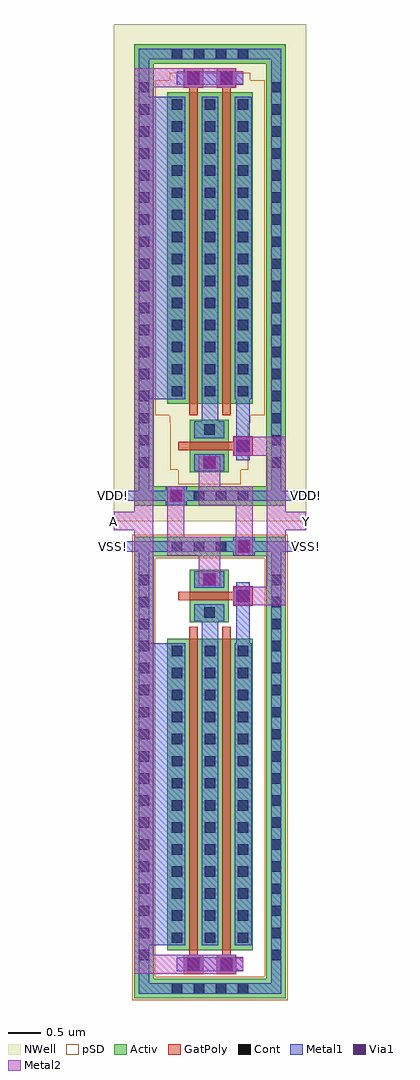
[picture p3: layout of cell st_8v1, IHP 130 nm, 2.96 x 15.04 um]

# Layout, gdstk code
import gdstk
lib = gdstk.Library(unit=1e-6, precision=1e-09)
def R(c, l, rs):  # rectangles x0, y0, x1, y1
    for r in rs: c.add(gdstk.rectangle(r[:2], r[2:], *l))
def A(c, l, x, y, w, h, nx, ny, dx, dy):  # array of equal rectangles
    R(c, l, [(x+i*dx, y+j*dy, x+i*dx+w, y+j*dy+h) for i in range(nx) for j in range(ny)])
Activ = (1, 0)
GatPoly = (5, 0)
Cont = (6, 0)
Metal1 = (8, 0)
Metal2 = (10, 0)
pSD = (14, 0)
Via1 = (19, 0)
NWell = (31, 0)

st_8v1 = lib.new_cell('st_8v1')
R(st_8v1, Activ, [(-0.15,-8.76,2.19,-8.46), (-0.15,-8.46,0.15,-1.95), (1.89,-8.46,2.19,-1.95), (0.36,-8.02,1.68,-3.22), (0.71,-2.97,1.31,-2.16), (-0.15,-1.95,2.19,-1.65), (-0.15,-1.17,2.19,-0.87), (-0.15,-0.87,0.15,5.64), (1.89,-0.87,2.19,5.64), (0.71,-0.66,1.31,0.15), (0.36,0.4,1.68,5.2), (-0.15,5.64,2.19,5.94)])
R(st_8v1, GatPoly, [(0.615,-8.39,0.915,-8.09), (1.125,-8.39,1.425,-8.09), (0.7,-8.09,0.83,-3.04), (1.21,-8.09,1.34,-3.04), (1.38,-2.715,1.68,-2.63), (0.53,-2.63,1.68,-2.5), (1.38,-2.5,1.68,-2.415), (1.38,-0.405,1.68,-0.32), (0.53,-0.32,1.68,-0.19), (1.38,-0.19,1.68,-0.105), (0.7,0.22,0.83,5.27), (1.21,0.22,1.34,5.27), (0.615,5.27,0.915,5.57), (1.125,5.27,1.425,5.57)])
A(st_8v1, Cont, 0.43, -8.69, 0.16, 0.16, 4, 2, 0.34, 6.81)
A(st_8v1, Cont, -0.08, -8.175, 0.16, 0.16, 1, 18, 0, 0.34)
A(st_8v1, Cont, 1.96, -8.175, 0.16, 0.16, 1, 18, 0, 0.34)
A(st_8v1, Cont, 0.43, -7.91, 0.16, 0.16, 3, 14, 0.51, 0.34)
A(st_8v1, Cont, 0.43, -1.1, 0.16, 0.16, 4, 2, 0.34, 6.81)
A(st_8v1, Cont, -0.08, -0.585, 0.16, 0.16, 1, 18, 0, 0.34)
A(st_8v1, Cont, 1.96, -0.585, 0.16, 0.16, 1, 18, 0, 0.34)
A(st_8v1, Cont, 0.43, 0.51, 0.16, 0.16, 3, 14, 0.51, 0.34)
R(st_8v1, Cont, [(0.685,-8.32,0.845,-8.16), (1.195,-8.32,1.355,-8.16), (0.93,-2.9,1.09,-2.74), (1.45,-2.645,1.61,-2.485), (0.93,-2.39,1.09,-2.23), (0.93,-0.59,1.09,-0.43), (1.45,-0.335,1.61,-0.175), (0.93,-0.08,1.09,0.08), (0.685,5.34,0.845,5.5), (1.195,5.34,1.355,5.5)])
R(st_8v1, Metal1, [(-0.08,-8.69,2.12,-8.53), (-0.08,-8.53,0.08,-7.95), (1.96,-8.53,2.12,-1.88), (0.51,-8.345,1.53,-8.135), (-0.08,-7.95,0.64,-3.29), (0.89,-7.95,1.15,-2.95), (1.4,-7.95,1.66,-3.29), (-0.08,-3.29,0.08,-1.88), (1.425,-3.29,1.635,-2.35), (0.78,-2.95,1.24,-2.69), (0.78,-2.44,1.24,-2.18), (1.38,-1.945,1.71,-1.88), (-0.46,-1.88,2.5,-1.72), (1.38,-1.72,1.71,-1.655), (0.335,-1.165,0.665,-1.1), (-0.46,-1.1,2.5,-0.94), (-0.08,-0.94,0.08,0.47), (0.335,-0.94,0.665,-0.875), (1.96,-0.94,2.12,5.71), (0.78,-0.64,1.24,-0.38), (1.425,-0.47,1.635,0.47), (0.78,-0.13,1.24,0.13), (0.89,0.13,1.15,5.13), (-0.08,0.47,0.64,5.13), (1.4,0.47,1.66,5.13), (-0.08,5.13,0.08,5.71), (0.51,5.315,1.53,5.525), (-0.08,5.71,2.12,5.87)])
R(st_8v1, Metal2, [(-0.145,-8.385,1.42,-8.34), (-0.145,-8.34,1.53,-8.14), (-0.145,-8.14,1.42,-8.095), (-0.145,-8.095,0.145,-1.555), (1.385,-2.71,2.185,-2.42), (1.895,-2.42,2.185,-1.555), (0.845,-2.41,1.175,-1.945), (0.365,-1.945,1.175,-1.655), (1.415,-1.945,1.675,-1.165), (0.365,-1.655,0.625,-0.875), (-0.46,-1.555,0.145,-1.265), (1.895,-1.555,2.5,-1.265), (-0.145,-1.265,0.145,5.275), (1.895,-1.265,2.185,-0.4), (0.845,-1.165,1.675,-0.875), (0.845,-0.875,1.175,-0.41), (1.385,-0.4,2.185,-0.11), (-0.145,5.275,1.42,5.32), (-0.145,5.32,1.53,5.52), (-0.145,5.52,1.42,5.565)])
R(st_8v1, pSD, [(-0.18,-8.79,2.22,-8.43), (-0.18,-8.43,0.18,-1.98), (1.86,-8.43,2.22,-1.98), (-0.18,-1.98,2.22,-1.62), (0.53,-0.84,1.49,-0.62), (0.41,-0.62,1.61,0.1), (0.4,0.1,1.64,0.22), (0.18,0.22,1.86,5.38), (0.4,5.38,1.64,5.5)])
R(st_8v1, Via1, [(0.67,-8.335,0.86,-8.145), (1.18,-8.335,1.37,-8.145), (1.435,-2.66,1.625,-2.47), (0.915,-2.405,1.105,-2.215), (1.45,-1.895,1.64,-1.705), (0.4,-1.115,0.59,-0.925), (0.915,-0.605,1.105,-0.415), (1.435,-0.35,1.625,-0.16), (0.67,5.325,0.86,5.515), (1.18,5.325,1.37,5.515)])
R(st_8v1, NWell, [(-0.46,-1.41,2.5,6.25)])
st_8v1.add(gdstk.Label('A', (-0.46,-1.41), layer=10, texttype=25))
st_8v1.add(gdstk.Label('Y', (2.5,-1.41), layer=10, texttype=25))
st_8v1.add(gdstk.Label('VSS!', (-0.46,-1.8), layer=8, texttype=25))
st_8v1.add(gdstk.Label('VSS!', (2.5,-1.8), layer=8, texttype=25))
st_8v1.add(gdstk.Label('VDD!', (-0.46,-1.02), layer=8, texttype=25))
st_8v1.add(gdstk.Label('VDD!', (2.5,-1.02), layer=8, texttype=25))

lib.write_gds('st_8v1.gds')
